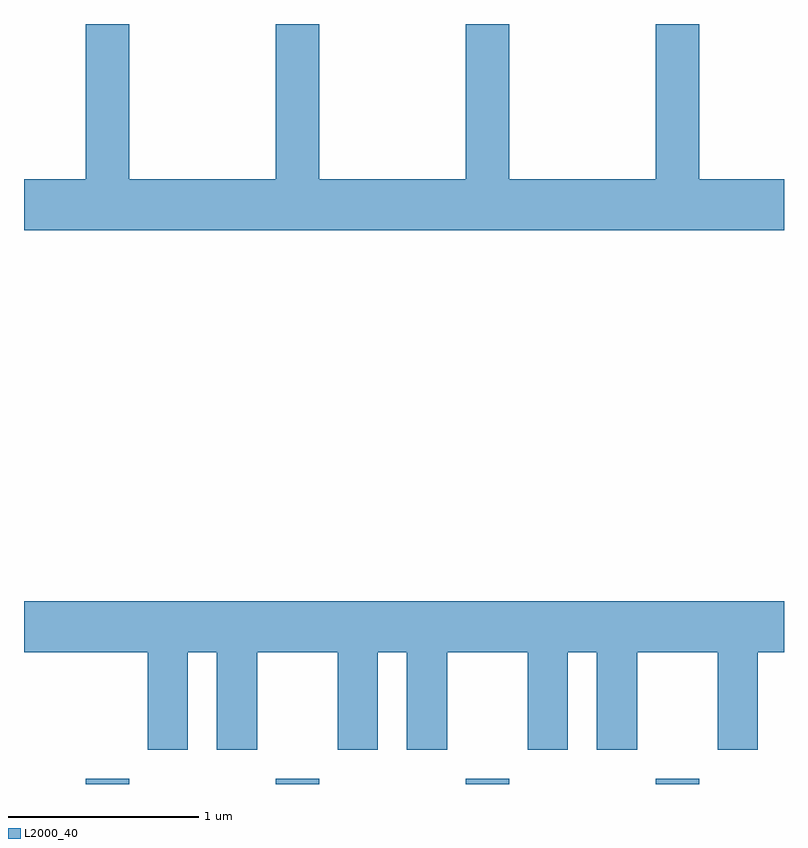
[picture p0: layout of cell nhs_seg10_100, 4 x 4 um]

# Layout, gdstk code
import gdstk
lib = gdstk.Library(unit=1e-6, precision=1e-09)
def R(c, l, rs):  # rectangles x0, y0, x1, y1
    for r in rs: c.add(gdstk.rectangle(r[:2], r[2:], *l))
def A(c, l, x, y, w, h, nx, ny, dx, dy):  # array of equal rectangles
    R(c, l, [(x+i*dx, y+j*dy, x+i*dx+w, y+j*dy+h) for i in range(nx) for j in range(ny)])
def P(c, l, *ps):  # polygons
    for p in ps: c.add(gdstk.Polygon(p, *l))
L2000_40 = (2000, 40)

nhs_seg10_100 = lib.new_cell('nhs_seg10_100')
A(nhs_seg10_100, L2000_40, 187.936, 2146.522, 0.228, 0.027, 4, 1, 1, 0)
P(nhs_seg10_100, L2000_40, [(191.611,2149.704),(191.164,2149.704),(191.164,2150.522),(190.936,2150.522),(190.936,2149.704),(190.164,2149.704),(190.164,2150.522),(189.936,2150.522),(189.936,2149.704),(189.164,2149.704),(189.164,2150.522),(188.936,2150.522),(188.936,2149.704),(188.164,2149.704),(188.164,2150.522),(187.936,2150.522),(187.936,2149.704),(187.611,2149.704),(187.611,2149.436),(191.611,2149.436)],
  [(188.474,2147.216),(188.626,2147.216),(188.626,2146.701),(188.839,2146.701),(188.839,2147.216),(189.261,2147.216),(189.261,2146.701),(189.474,2146.701),(189.474,2147.216),(189.626,2147.216),(189.626,2146.701),(189.839,2146.701),(189.839,2147.216),(190.261,2147.216),(190.261,2146.701),(190.474,2146.701),(190.474,2147.216),(190.626,2147.216),(190.626,2146.701),(190.839,2146.701),(190.839,2147.216),(191.261,2147.216),(191.261,2146.701),(191.474,2146.701),(191.474,2147.216),(191.611,2147.216),(191.611,2147.484),(187.611,2147.484),(187.611,2147.216),(188.261,2147.216),(188.261,2146.701),(188.474,2146.701)])

lib.write_gds('nhs_seg10_100.gds')
